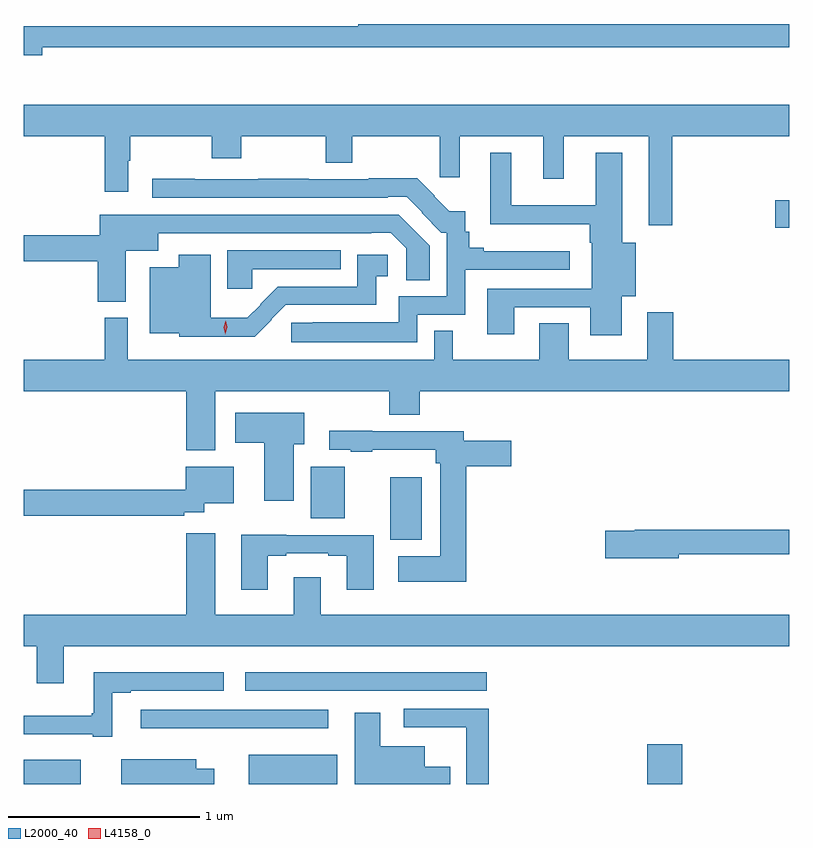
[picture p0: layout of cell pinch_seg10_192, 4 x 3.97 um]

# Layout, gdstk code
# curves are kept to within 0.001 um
import gdstk
lib = gdstk.Library(unit=1e-6, precision=1e-09)
def R(c, l, rs):  # rectangles x0, y0, x1, y1
    for r in rs: c.add(gdstk.rectangle(r[:2], r[2:], *l))
def P(c, l, *ps):  # polygons
    for p in ps: c.add(gdstk.Polygon(p, *l))
L2000_40 = (2000, 40)
L4158_0 = (4158, 0)

pinch_seg10_192 = lib.new_cell('pinch_seg10_192')
R(pinch_seg10_192, L2000_40, [(842.949,1248.979,843.247,1249.105), (844.124,1248.979,844.588,1249.132), (846.206,1248.979,846.389,1249.186), (843.561,1249.271,844.54,1249.368), (844.107,1249.467,845.368,1249.564), (844.865,1250.255,845.029,1250.581), (844.448,1250.369,844.627,1250.638), (846.876,1251.887,846.949,1252.029)])
P(pinch_seg10_192, L2000_40, [(843.046,1252.83),(846.949,1252.83),(846.949,1252.951),(844.696,1252.951),(844.696,1252.938),(842.949,1252.938),(842.949,1252.787),(843.046,1252.787)],
  [(846.338,1252.364),(846.949,1252.364),(846.949,1252.528),(842.949,1252.528),(842.949,1252.364),(843.371,1252.364),(843.371,1252.074),(843.496,1252.074),(843.496,1252.237),(843.504,1252.237),(843.504,1252.364),(843.931,1252.364),(843.931,1252.25),(844.086,1252.25),(844.086,1252.364),(844.528,1252.364),(844.528,1252.225),(844.665,1252.225),(844.665,1252.364),(845.122,1252.364),(845.122,1252.149),(845.227,1252.149),(845.227,1252.364),(845.663,1252.364),(845.663,1252.143),(845.77,1252.143),(845.77,1252.364),(846.215,1252.364),(846.215,1251.9),(846.338,1251.9)],
  [(846.073,1251.527),(846.148,1251.527),(846.148,1251.808),(846.076,1251.808),(846.076,1252.279),(845.939,1252.279),(845.939,1252.003),(845.497,1252.003),(845.497,1252.279),(845.387,1252.279),(845.387,1251.905),(845.906,1251.905),(845.906,1251.809),(845.918,1251.809),(845.918,1251.567),(845.372,1251.567),(845.372,1251.33),(845.512,1251.33),(845.512,1251.471),(845.909,1251.471),(845.909,1251.324),(846.073,1251.324)],
  [(845.004,1251.432),(845.256,1251.432),(845.256,1251.666),(845.803,1251.666),(845.803,1251.763),(845.353,1251.763),(845.353,1251.782),(845.276,1251.782),(845.276,1251.864),(845.257,1251.864),(845.257,1251.973),(845.172,1251.973),(845.094,1252.05),(845.097,1252.053),(845.005,1252.145),(844.753,1252.145),(844.753,1252.14),(844.439,1252.14),(844.439,1252.143),(844.174,1252.143),(844.174,1252.14),(843.842,1252.14),(843.842,1252.143),(843.621,1252.143),(843.621,1252.044),(844.85,1252.044),(844.85,1252.047),(844.95,1252.047),(845.031,1251.966),(845.028,1251.964),(845.13,1251.861),(845.16,1251.861),(845.16,1251.528),(844.908,1251.528),(844.908,1251.391),(844.347,1251.39),(844.347,1251.287),(845.004,1251.287)],
  [(843.481,1251.767),(843.652,1251.767),(843.652,1251.858),(844.766,1251.858),(844.766,1251.86),(844.867,1251.86),(844.947,1251.78),(844.947,1251.613),(845.071,1251.613),(845.071,1251.791),(844.989,1251.873),(844.99,1251.874),(844.909,1251.954),(843.347,1251.954),(843.347,1251.848),(842.949,1251.848),(842.949,1251.712),(843.335,1251.712),(843.335,1251.5),(843.481,1251.5)],
  [(844.142,1251.668),(844.606,1251.668),(844.606,1251.769),(844.013,1251.769),(844.013,1251.567),(844.142,1251.567)],
  [(844.245,1251.405),(844.242,1251.408),(844.317,1251.483),(844.792,1251.483),(844.792,1251.632),(844.852,1251.632),(844.852,1251.745),(844.691,1251.745),(844.691,1251.579),(844.277,1251.579),(844.184,1251.486),(844.186,1251.484),(844.117,1251.415),(843.925,1251.415),(843.925,1251.745),(843.758,1251.745),(843.758,1251.679),(843.608,1251.679),(843.608,1251.335),(843.762,1251.335),(843.762,1251.317),(844.157,1251.317)],
  [(843.949,1251.032),(844.858,1251.032),(844.858,1250.908),(845.018,1250.908),(845.018,1251.032),(846.949,1251.032),(846.949,1251.196),(846.344,1251.196),(846.344,1251.445),(846.206,1251.445),(846.206,1251.196),(845.797,1251.196),(845.797,1251.386),(845.642,1251.386),(845.642,1251.196),(845.192,1251.196),(845.192,1251.347),(845.094,1251.347),(845.094,1251.196),(843.493,1251.196),(843.493,1251.415),(843.371,1251.415),(843.371,1251.196),(842.949,1251.196),(842.949,1251.032),(843.797,1251.032),(843.797,1250.723),(843.949,1250.723)],
  [(844.36,1250.755),(844.414,1250.755),(844.414,1250.92),(844.053,1250.92),(844.053,1250.762),(844.205,1250.762),(844.205,1250.46),(844.36,1250.46)],
  [(845.261,1250.639),(845.497,1250.639),(845.497,1250.773),(845.248,1250.773),(845.248,1250.823),(844.769,1250.823),(844.769,1250.825),(844.545,1250.825),(844.545,1250.727),(844.657,1250.727),(844.657,1250.715),(844.769,1250.715),(844.769,1250.726),(845.101,1250.726),(845.101,1250.655),(845.126,1250.655),(845.126,1250.17),(844.905,1250.17),(844.905,1250.036),(845.261,1250.036)],
  [(843.788,1250.4),(843.891,1250.4),(843.891,1250.447),(844.045,1250.447),(844.045,1250.638),(843.795,1250.638),(843.795,1250.516),(842.949,1250.516),(842.949,1250.38),(843.788,1250.38)],
  [(846.372,1250.181),(846.949,1250.181),(846.949,1250.309),(846.141,1250.309),(846.141,1250.303),(845.988,1250.303),(845.988,1250.158),(846.372,1250.158)],
  [(844.225,1250.172),(844.321,1250.172),(844.321,1250.184),(844.541,1250.184),(844.541,1250.172),(844.637,1250.172),(844.637,1249.995),(844.777,1249.995),(844.777,1250.28),(844.321,1250.28),(844.321,1250.281),(844.085,1250.281),(844.085,1249.995),(844.225,1249.995)],
  [(844.361,1250.059),(844.361,1249.864),(843.949,1249.864),(843.949,1250.29),(843.797,1250.29),(843.797,1249.864),(842.949,1249.864),(842.949,1249.7),(843.017,1249.7),(843.017,1249.506),(843.157,1249.506),(843.157,1249.7),(846.949,1249.7),(846.949,1249.864),(844.501,1249.864),(844.501,1250.059)],
  [(843.412,1249.455),(843.508,1249.455),(843.508,1249.467),(843.994,1249.467),(843.994,1249.564),(843.314,1249.564),(843.314,1249.348),(843.303,1249.348),(843.303,1249.336),(842.949,1249.336),(842.949,1249.238),(843.308,1249.238),(843.308,1249.227),(843.412,1249.227)],
  [(845.378,1249.371),(844.935,1249.371),(844.935,1249.275),(845.261,1249.275),(845.261,1249.274),(845.262,1249.274),(845.262,1248.979),(845.378,1248.979)],
  [(845.177,1249.07),(845.044,1249.07),(845.044,1249.177),(844.813,1249.177),(844.813,1249.351),(844.679,1249.351),(844.679,1248.979),(845.177,1248.979)],
  [(843.943,1249.06),(843.85,1249.06),(843.85,1249.108),(843.458,1249.108),(843.458,1248.979),(843.943,1248.979)])
P(pinch_seg10_192, L4158_0, [(844.002,1251.33),(844.001,1251.331),(843.993,1251.366),(844.004,1251.401),(844.004,1251.401),(844.004,1251.401),(844.013,1251.365),(844.002,1251.331)])

lib.write_gds('pinch_seg10_192.gds')
